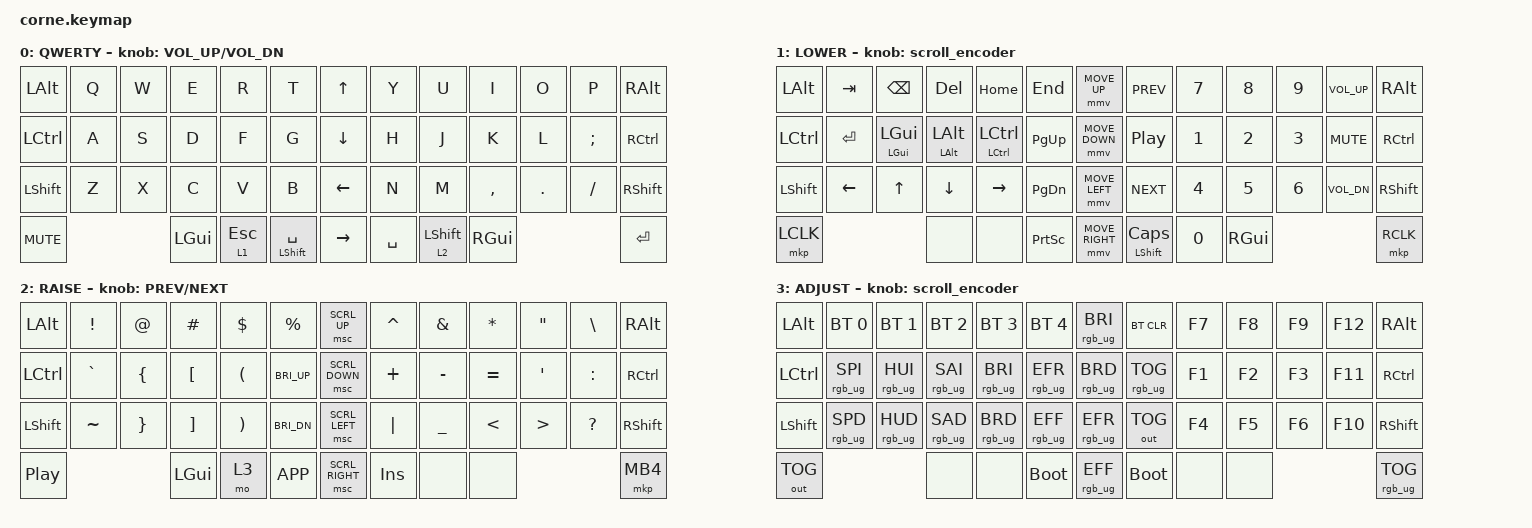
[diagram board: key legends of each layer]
/* spellchecker:disable */
#include <behaviors/mouse_keys.dtsi>
#include <behaviors.dtsi>
#include <dt-bindings/zmk/backlight.h>
#include <dt-bindings/zmk/bt.h>
#include <dt-bindings/zmk/ext_power.h>
#include <dt-bindings/zmk/keys.h>
#include <dt-bindings/zmk/mouse.h>
#include <dt-bindings/zmk/outputs.h>
#include <dt-bindings/zmk/rgb.h>

#define ZMK_MOUSE_DEFAULT_MOVE_VAL 800  // 600
#define ZMK_MOUSE_DEFAULT_SCRL_VAL 20   // 10

#define U_MS_U &mmv MOVE_UP
#define U_MS_D &mmv MOVE_DOWN
#define U_MS_L &mmv MOVE_LEFT
#define U_MS_R &mmv MOVE_RIGHT

#define PSCRN PRINTSCREEN
#define PSBRK PAUSE_BREAK

&lt {
    flavor = "hold-preferred";
    // tapping-term-ms = <150>;
};


&sk {
    release-after-ms = <4000>;
    quick-release;
    lazy;
};

&mt {
    // tapping-term-ms = <150>;
};

/ {
    rgb_encoder: rgb_encoder {
        compatible = "zmk,behavior-sensor-rotate";
        label = "RGB_ENCODER";
        #sensor-binding-cells = <0>;
        bindings = <&rgb_ug RGB_BRI>, <&rgb_ug RGB_BRD>;
    };
    scroll_encoder: scroll_encoder  {
        compatible = "zmk,behavior-sensor-rotate";
        #sensor-binding-cells = <0>;
        bindings = <&msc SCRL_DOWN>, <&msc SCRL_UP>;
        tap-ms = <30>;
    };  
    // conditional_layers {
    //     compatible = "zmk,conditional-layers";
    //     tri_layer {
    //         if-layers = <1 2>;
    //         then-layer = <3>;
    //     };
    // };
    macros {
        win_sleep: win_sleep {
            wait-ms = <50>;
            tap-ms = <5>;
            compatible = "zmk,behavior-macro";
            #binding-cells = <0>;
            bindings = <&kp LG(X) &kp U &kp S>;
        };
    };
    behaviors {
        lclk_rclk: lclk_rclk {
            compatible = "zmk,behavior-tap-dance";
            #binding-cells = <0>;
            bindings = <&mkp LCLK>, <&mkp RCLK>;
        };
        vol_up_prev: vol_up_prev {
            compatible = "zmk,behavior-mod-morph";
            #binding-cells = <0>;
            bindings = <&kp C_VOL_UP>, <&kp C_PREV>;
            mods = <(MOD_LSFT|MOD_RSFT)>;
        };
        vol_dn_next: vol_dn_next {
            compatible = "zmk,behavior-mod-morph";
            #binding-cells = <0>;
            bindings = <&kp C_VOL_DN>, <&kp C_NEXT>;
            mods = <(MOD_LSFT|MOD_RSFT)>;
        };
        mute_play_pause: mute_play_pause {
            compatible = "zmk,behavior-mod-morph";
            #binding-cells = <0>;
            bindings = <&kp C_MUTE>, <&kp C_PLAY_PAUSE>;
            mods = <(MOD_LSFT|MOD_RSFT)>;
        };
        ls: layer_stick {
            compatible = "zmk,behavior-hold-tap";
            #binding-cells = <2>;
            flavor = "hold-preferred";
            tapping-term-ms = <200>;
            bindings = <&mo>, <&sk>;
        };        
        hs: hold_stick {
            compatible = "zmk,behavior-hold-tap";
            #binding-cells = <2>;
            flavor = "hold-preferred";
            tapping-term-ms = <200>;
            bindings = <&kp>, <&sk>;
        };
        hc: hold_capsword {
            compatible = "zmk,behavior-hold-tap";
            #binding-cells = <2>;
            flavor = "hold-preferred";
            tapping-term-ms = <200>;
            bindings = <&kp>, <&caps_word>;
        };
        lc: layer_capsword {
            compatible = "zmk,behavior-hold-tap";
            #binding-cells = <2>;
            flavor = "hold-preferred";
            tapping-term-ms = <200>;
            bindings = <&mo>, <&caps_word>;
        };
        mmv {
            acceleration-exponent = <0>;      // 1
            time-to-max-speed-ms = <900>;    // 40
            delay-ms = <0>;                   // 0
        };
        msc {
            acceleration-exponent = <1>;      // 0      
            time-to-max-speed-ms = <400>;      // 500
            delay-ms = <0>;                   // 10
        };
    };


    keymap {
        compatible = "zmk,keymap";
        layer0 {
            display-name = "QWERTY";
            bindings = <
&kp LALT         &kp Q            &kp W            &kp E            &kp R            &kp T            &kp UP           &kp Y            &kp U            &kp I            &kp O            &kp P            &kp RALT
&kp LCTRL        &kp A            &kp S            &kp D            &kp F            &kp G            &kp DOWN         &kp H            &kp J            &kp K            &kp L            &kp SEMI         &kp RCTRL
&kp LSHFT        &kp Z            &kp X            &kp C            &kp V            &kp B            &kp LEFT         &kp N            &kp M            &kp COMMA        &kp DOT          &kp FSLH         &kp RSHFT
&kp C_MUTE                                         &kp LGUI         &lt 1 ESC        &mt LSHFT SPACE  &kp RIGHT        &kp SPACE        &ls 2 LSHFT      &kp RGUI                                           &kp ENTER >;
            sensor-bindings = <&inc_dec_kp C_VOL_UP C_VOL_DN>;
        };
        layer1 {
            display-name = "LOWER";
            bindings = <
&kp LALT         &kp TAB          &kp BSPC         &kp DEL          &kp HOME         &kp END          &mmv MOVE_UP     &kp C_PREV       &kp N7           &kp N8           &kp N9           &kp C_VOL_UP     &kp RALT 
&kp LCTRL        &kp ENTER        &hs LGUI LGUI    &hs LALT LALT    &hs LCTRL LCTRL  &kp PG_UP        &mmv MOVE_DOWN   &kp C_PLAY_PAUSE &kp N1           &kp N2           &kp N3           &kp C_MUTE       &kp RCTRL
&kp LSHFT        &kp LEFT         &kp UP           &kp DOWN         &kp RIGHT        &kp PG_DN        &mmv MOVE_LEFT   &kp C_NEXT       &kp N4           &kp N5           &kp N6           &kp C_VOL_DN     &kp RSHFT
&mkp LCLK                                          &none            &none            &kp PRINTSCREEN  &mmv MOVE_RIGHT  &hc LSHFT CAPS   &kp N0           &kp RGUI                                           &mkp RCLK >;
            sensor-bindings = <&scroll_encoder>;
        };
        layer2 {
            display-name = "RAISE";
            bindings = <
&kp LALT         &kp EXCL         &kp AT           &kp POUND        &kp DLLR         &kp PRCNT        &msc SCRL_UP     &kp CARET        &kp AMPS         &kp ASTRK        &kp DQT          &kp BSLH         &kp RALT
&kp LCTRL        &kp GRAVE        &kp LBRC         &kp LBKT         &kp LPAR         &kp C_BRI_UP     &msc SCRL_DOWN   &kp PLUS         &kp MINUS        &kp EQUAL        &kp SQT          &kp COLON        &kp RCTRL
&kp LSHFT        &kp TILDE        &kp RBRC         &kp RBKT         &kp RPAR         &kp C_BRI_DN     &msc SCRL_LEFT   &kp PIPE         &kp UNDER        &kp LT           &kp GT           &kp QMARK        &kp RSHFT
&kp C_PLAY_PAUSE                                   &kp LGUI         &mo 3            &kp K_APP        &msc SCRL_RIGHT  &kp INS          &none            &none                                              &mkp MB4 >;
            sensor-bindings = <&inc_dec_kp C_PREV C_NEXT>;
        };
        layer3 {
            display-name = "ADJUST";
            bindings = <
&kp LALT         &bt BT_SEL 0     &bt BT_SEL 1     &bt BT_SEL 2     &bt BT_SEL 3     &bt BT_SEL 4     &rgb_ug RGB_BRI  &bt BT_CLR       &kp F7           &kp F8           &kp F9           &kp F12          &kp RALT
&kp LCTRL        &rgb_ug RGB_SPI  &rgb_ug RGB_HUI  &rgb_ug RGB_SAI  &rgb_ug RGB_BRI  &rgb_ug RGB_EFR  &rgb_ug RGB_BRD  &rgb_ug RGB_TOG  &kp F1           &kp F2           &kp F3           &kp F11          &kp RCTRL
&kp LSHFT        &rgb_ug RGB_SPD  &rgb_ug RGB_HUD  &rgb_ug RGB_SAD  &rgb_ug RGB_BRD  &rgb_ug RGB_EFF  &rgb_ug RGB_EFR  &out OUT_TOG     &kp F4           &kp F5           &kp F6           &kp F10          &kp RSHIFT
&out OUT_TOG                                       &none            &none            &bootloader      &rgb_ug RGB_EFF  &bootloader      &none            &none                                              &rgb_ug RGB_TOG >;
            sensor-bindings = <&scroll_encoder>;
        };
    };  
};
